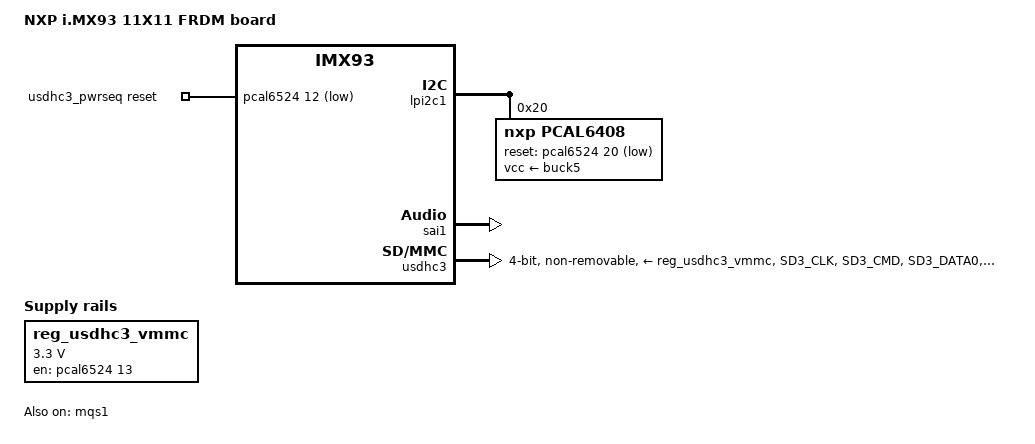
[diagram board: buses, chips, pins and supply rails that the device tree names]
// SPDX-License-Identifier: (GPL-2.0+ OR MIT)

/dts-v1/;

#include "imx93.dtsi"
#include "imx93-11x11-frdm-common.dtsi"

/ {
	compatible = "fsl,imx93-11x11-frdm", "fsl,imx93";
	model = "NXP i.MX93 11X11 FRDM board";

	reg_usdhc3_vmmc: regulator-usdhc3 {
		compatible = "regulator-fixed";
		regulator-name = "VPCIe_3V3";
		regulator-min-microvolt = <3300000>;
		regulator-max-microvolt = <3300000>;
		startup-delay-us = <20000>;
		gpio = <&pcal6524 13 GPIO_ACTIVE_HIGH>;
		enable-active-high;
	};

	sound-mqs {
		compatible = "fsl,imx-audio-mqs";
		model = "mqs-audio";
		audio-cpu = <&sai1>;
		audio-codec = <&mqs1>;
	};

	usdhc3_pwrseq: mmc-pwrseq {
		compatible = "mmc-pwrseq-simple";
		reset-gpios = <&pcal6524 12 GPIO_ACTIVE_LOW>;
	};
};

&bluetooth {
	device-wakeup-gpios = <&pcal6408 3 GPIO_ACTIVE_HIGH>;
	reset-gpios = <&pcal6524 19 GPIO_ACTIVE_LOW>;
	vcc-supply = <&reg_usdhc3_vmmc>;
};

&lpi2c1 {
	pcal6408: gpio@20 {
		compatible = "nxp,pcal6408";
		reg = <0x20>;
		#gpio-cells = <2>;
		gpio-controller;
		reset-gpios = <&pcal6524 20 GPIO_ACTIVE_LOW>;
		vcc-supply = <&buck5>;
	};
};

&mqs1 {
	pinctrl-names = "default";
	pinctrl-0 = <&pinctrl_mqs1>;
	status = "okay";
};

&sai1 {
	#sound-dai-cells = <0>;
	clocks = <&clk IMX93_CLK_SAI1_IPG>, <&clk IMX93_CLK_DUMMY>,
		 <&clk IMX93_CLK_SAI1_GATE>, <&clk IMX93_CLK_DUMMY>,
		 <&clk IMX93_CLK_DUMMY>, <&clk IMX93_CLK_AUDIO_PLL>;
	clock-names = "bus", "mclk0", "mclk1", "mclk2", "mclk3", "pll8k";
	assigned-clocks = <&clk IMX93_CLK_SAI1>;
	assigned-clock-parents = <&clk IMX93_CLK_AUDIO_PLL>;
	assigned-clock-rates = <24576000>;
	fsl,sai-mclk-direction-output;
	status = "okay";
};

&usdhc3 {
	bus-width = <4>;
	keep-power-in-suspend;
	mmc-pwrseq = <&usdhc3_pwrseq>;
	non-removable;
	pinctrl-0 = <&pinctrl_usdhc3>;
	pinctrl-1 = <&pinctrl_usdhc3_100mhz>;
	pinctrl-2 = <&pinctrl_usdhc3_200mhz>;
	pinctrl-3 = <&pinctrl_usdhc3_sleep>;
	pinctrl-names = "default", "state_100mhz", "state_200mhz", "sleep";
	vmmc-supply = <&reg_usdhc3_vmmc>;
	status = "okay";
};

&iomuxc {
	pinctrl_mqs1: mqs1grp {
		fsl,pins = <
			MX93_PAD_PDM_CLK__MQS1_LEFT		0x31e
			MX93_PAD_PDM_BIT_STREAM0__MQS1_RIGHT	0x31e
		>;
	};

	/* need to config the SION for data and cmd pad, refer to ERR052021 */
	pinctrl_usdhc3: usdhc3grp {
		fsl,pins = <
			MX93_PAD_SD3_CLK__USDHC3_CLK		0x1582
			MX93_PAD_SD3_CMD__USDHC3_CMD		0x40001382
			MX93_PAD_SD3_DATA0__USDHC3_DATA0	0x40001382
			MX93_PAD_SD3_DATA1__USDHC3_DATA1	0x40001382
			MX93_PAD_SD3_DATA2__USDHC3_DATA2	0x40001382
			MX93_PAD_SD3_DATA3__USDHC3_DATA3	0x40001382
		>;
	};

	/* need to config the SION for data and cmd pad, refer to ERR052021 */
	pinctrl_usdhc3_100mhz: usdhc3-100mhzgrp {
		fsl,pins = <
			MX93_PAD_SD3_CLK__USDHC3_CLK		0x158e
			MX93_PAD_SD3_CMD__USDHC3_CMD		0x4000138e
			MX93_PAD_SD3_DATA0__USDHC3_DATA0	0x4000138e
			MX93_PAD_SD3_DATA1__USDHC3_DATA1	0x4000138e
			MX93_PAD_SD3_DATA2__USDHC3_DATA2	0x4000138e
			MX93_PAD_SD3_DATA3__USDHC3_DATA3	0x4000138e
		>;
	};

	/* need to config the SION for data and cmd pad, refer to ERR052021 */
	pinctrl_usdhc3_200mhz: usdhc3-200mhzgrp {
		fsl,pins = <
			MX93_PAD_SD3_CLK__USDHC3_CLK		0x15fe
			MX93_PAD_SD3_CMD__USDHC3_CMD		0x400013fe
			MX93_PAD_SD3_DATA0__USDHC3_DATA0	0x400013fe
			MX93_PAD_SD3_DATA1__USDHC3_DATA1	0x400013fe
			MX93_PAD_SD3_DATA2__USDHC3_DATA2	0x400013fe
			MX93_PAD_SD3_DATA3__USDHC3_DATA3	0x400013fe
		>;
	};

	pinctrl_usdhc3_sleep: usdhc3grpsleepgrp {
		fsl,pins = <
			MX93_PAD_SD3_CLK__GPIO3_IO20		0x31e
			MX93_PAD_SD3_CMD__GPIO3_IO21		0x31e
			MX93_PAD_SD3_DATA0__GPIO3_IO22		0x31e
			MX93_PAD_SD3_DATA1__GPIO3_IO23		0x31e
			MX93_PAD_SD3_DATA2__GPIO3_IO24		0x31e
			MX93_PAD_SD3_DATA3__GPIO3_IO25		0x31e
		>;
	};
};
